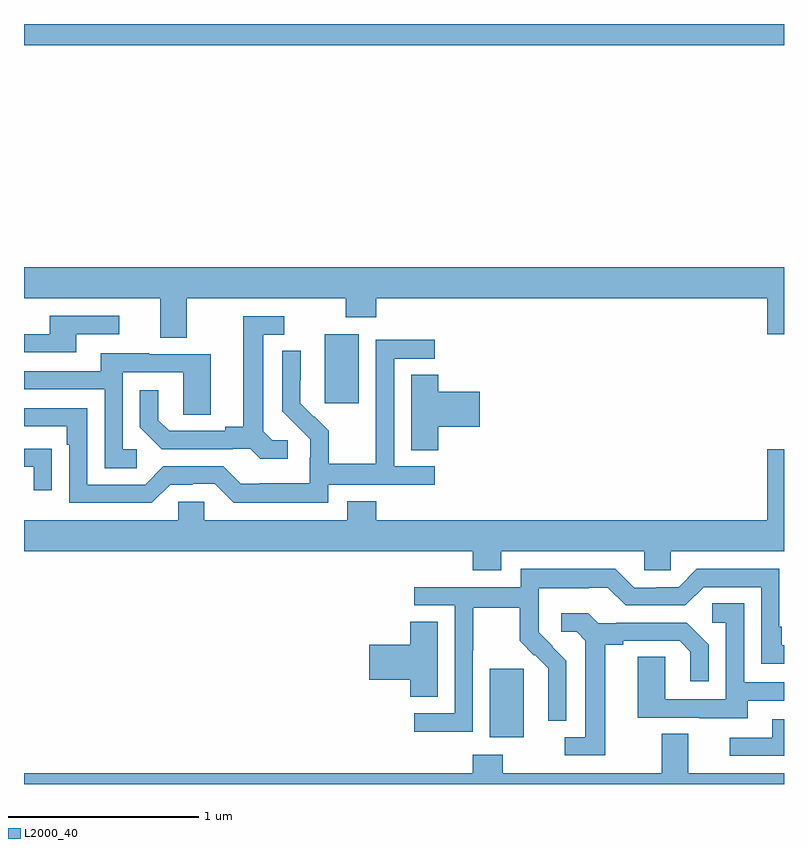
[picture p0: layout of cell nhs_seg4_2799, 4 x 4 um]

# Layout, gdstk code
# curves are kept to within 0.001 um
import gdstk
lib = gdstk.Library(unit=1e-6, precision=1e-09)
def R(c, l, rs):  # rectangles x0, y0, x1, y1
    for r in rs: c.add(gdstk.rectangle(r[:2], r[2:], *l))
def P(c, l, *ps):  # polygons
    for p in ps: c.add(gdstk.Polygon(p, *l))
L2000_40 = (2000, 40)

nhs_seg4_2799 = lib.new_cell('nhs_seg4_2799')
R(nhs_seg4_2799, L2000_40, [(259.451,825.146,259.63,825.507), (258.584,826.905,258.763,827.266), (257,828.788,261,828.9)])
P(nhs_seg4_2799, L2000_40, [(257.857,827.456),(258.694,827.456),(258.694,827.357),(258.854,827.357),(258.854,827.456),(260.912,827.456),(260.912,827.268),(261,827.268),(261,827.62),(257,827.62),(257,827.456),(257.717,827.456),(257.717,827.248),(257.857,827.248)],
  [(257.275,827.268),(257.5,827.268),(257.5,827.364),(257.135,827.364),(257.135,827.268),(257,827.268),(257,827.172),(257.275,827.172)],
  [(258.388,826.71),(258.306,826.71),(258.259,826.757),(258.259,827.265),(258.37,827.265),(258.37,827.361),(258.155,827.361),(258.155,826.781),(258.059,826.781),(258.059,826.758),(257.764,826.758),(257.707,826.815),(257.707,826.972),(257.61,826.972),(257.61,826.778),(257.726,826.662),(258.098,826.662),(258.098,826.665),(258.192,826.665),(258.244,826.613),(258.388,826.613)],
  [(258.6,826.476),(259.162,826.476),(259.162,826.572),(258.948,826.572),(258.948,827.139),(259.162,827.139),(259.162,827.238),(258.852,827.238),(258.852,826.808),(258.85,826.808),(258.85,826.585),(258.605,826.585),(258.605,826.759),(258.528,826.836),(258.525,826.833),(258.455,826.904),(258.456,827.18),(258.36,827.18),(258.36,826.862),(258.506,826.714),(258.506,826.617),(258.504,826.617),(258.504,826.483),(258.241,826.483),(258.241,826.479),(258.141,826.479),(258.048,826.572),(257.733,826.572),(257.637,826.476),(257.334,826.476),(257.334,826.878),(257,826.878),(257,826.782),(257.225,826.782),(257.225,826.685),(257.238,826.685),(257.238,826.38),(257.673,826.38),(257.769,826.476),(257.888,826.476),(257.888,826.479),(258.003,826.479),(258.103,826.379),(258.6,826.379)],
  [(257.593,826.662),(257.52,826.662),(257.52,827.067),(257.838,827.067),(257.838,826.843),(257.983,826.843),(257.983,827.163),(257.659,827.163),(257.659,827.167),(257.405,827.167),(257.405,827.073),(257,827.073),(257,826.977),(257.424,826.977),(257.424,826.561),(257.593,826.561)],
  [(259.181,826.781),(259.399,826.781),(259.399,826.964),(259.181,826.964),(259.181,827.054),(259.037,827.054),(259.037,826.657),(259.181,826.657)],
  [(257.147,826.664),(257.045,826.664),(257.045,826.665),(257,826.665),(257,826.569),(257.051,826.569),(257.051,826.446),(257.147,826.446)],
  [(259.513,826.124),(260.265,826.124),(260.265,826.026),(260.403,826.026),(260.403,826.124),(261,826.124),(261,826.663),(260.912,826.663),(260.912,826.288),(258.854,826.288),(258.854,826.387),(258.701,826.387),(258.701,826.288),(257.949,826.288),(257.949,826.386),(257.811,826.386),(257.811,826.288),(257,826.288),(257,826.124),(259.361,826.124),(259.361,826.025),(259.513,826.025)],
  [(259.362,825.604),(259.365,825.604),(259.365,825.828),(259.609,825.828),(259.609,825.653),(259.686,825.576),(259.689,825.579),(259.76,825.509),(259.76,825.386),(259.758,825.386),(259.758,825.232),(259.854,825.232),(259.854,825.55),(259.708,825.698),(259.708,825.795),(259.71,825.795),(259.71,825.929),(259.973,825.929),(259.973,825.933),(260.073,825.933),(260.166,825.84),(260.481,825.84),(260.577,825.936),(260.88,825.936),(260.88,825.534),(261,825.534),(261,825.63),(260.989,825.63),(260.989,825.727),(260.976,825.727),(260.976,826.032),(260.541,826.032),(260.445,825.936),(260.327,825.936),(260.327,825.933),(260.211,825.933),(260.111,826.033),(259.614,826.033),(259.614,825.936),(259.053,825.936),(259.053,825.84),(259.266,825.84),(259.266,825.273),(259.053,825.273),(259.053,825.175),(259.362,825.175)],
  [(260.809,825.339),(261,825.339),(261,825.435),(260.79,825.435),(260.79,825.851),(260.622,825.851),(260.622,825.75),(260.694,825.75),(260.694,825.345),(260.376,825.345),(260.376,825.569),(260.231,825.569),(260.231,825.249),(260.555,825.249),(260.555,825.245),(260.809,825.245)],
  [(260.059,825.632),(260.155,825.632),(260.155,825.654),(260.45,825.654),(260.507,825.597),(260.507,825.441),(260.604,825.441),(260.604,825.634),(260.488,825.75),(260.116,825.75),(260.116,825.747),(260.022,825.747),(259.97,825.799),(259.827,825.799),(259.827,825.702),(259.908,825.702),(259.955,825.655),(259.955,825.147),(259.845,825.147),(259.845,825.051),(260.059,825.051)],
  [(259.177,825.755),(259.034,825.755),(259.034,825.632),(258.816,825.632),(258.816,825.449),(259.034,825.449),(259.034,825.358),(259.177,825.358)],
  [(261,825.24),(260.939,825.24),(260.939,825.144),(260.715,825.144),(260.715,825.048),(261,825.048)],
  [(261,824.956),(260.497,824.956),(260.497,825.164),(260.357,825.164),(260.357,824.956),(259.521,824.956),(259.521,825.055),(259.361,825.055),(259.361,824.956),(257,824.956),(257,824.9),(261,824.9)])

lib.write_gds('nhs_seg4_2799.gds')
